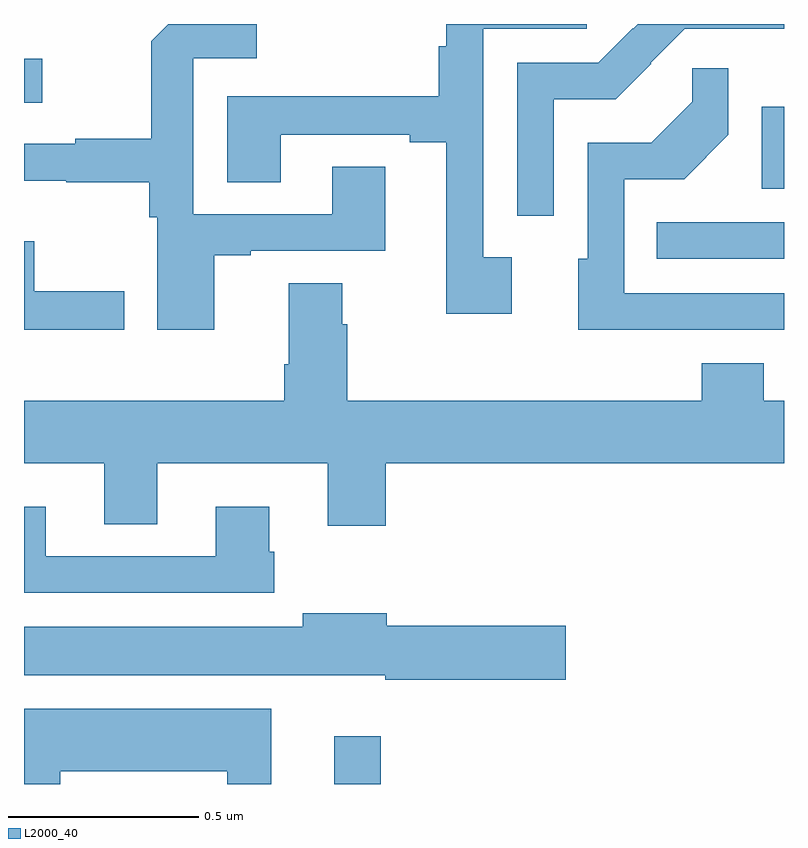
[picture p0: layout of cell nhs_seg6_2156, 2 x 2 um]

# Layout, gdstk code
import gdstk
lib = gdstk.Library(unit=1e-6, precision=1e-09)
def R(c, l, rs):  # rectangles x0, y0, x1, y1
    for r in rs: c.add(gdstk.rectangle(r[:2], r[2:], *l))
def P(c, l, *ps):  # polygons
    for p in ps: c.add(gdstk.Polygon(p, *l))
L2000_40 = (2000, 40)

nhs_seg6_2156 = lib.new_cell('nhs_seg6_2156')
R(nhs_seg6_2156, L2000_40, [(139.817,938.5,139.939,938.626), (140.665,939.882,141,939.978), (140.942,940.067,141,940.282), (139,940.293,139.048,940.408)])
P(nhs_seg6_2156, L2000_40, [(139.501,939.891),(139.597,939.891),(139.597,939.903),(139.951,939.903),(139.951,940.124),(139.811,940.124),(139.811,939.999),(139.446,939.999),(139.446,940.41),(139.612,940.41),(139.612,940.5),(139.38,940.5),(139.335,940.455),(139.335,940.198),(139.135,940.198),(139.135,940.185),(139,940.185),(139,940.088),(139.111,940.088),(139.111,940.084),(139.33,940.084),(139.33,939.992),(139.35,939.992),(139.35,939.696),(139.501,939.696)],
  [(140.284,939.886),(140.208,939.886),(140.208,940.488),(140.481,940.488),(140.481,940.5),(140.111,940.5),(140.111,940.442),(140.092,940.442),(140.092,940.31),(139.535,940.31),(139.535,940.084),(139.675,940.084),(139.675,940.209),(140.015,940.209),(140.015,940.189),(140.111,940.189),(140.111,939.738),(140.284,939.738)],
  [(140.394,940.302),(140.557,940.302),(140.651,940.396),(140.649,940.398),(140.739,940.488),(140.954,940.488),(140.954,940.487),(141,940.487),(141,940.5),(140.615,940.5),(140.603,940.488),(140.602,940.489),(140.511,940.398),(140.298,940.398),(140.298,939.996),(140.394,939.996)],
  [(140.677,939.696),(141,939.696),(141,939.792),(140.58,939.792),(140.58,940.092),(140.737,940.092),(140.853,940.208),(140.853,940.384),(140.758,940.384),(140.758,940.296),(140.65,940.188),(140.484,940.188),(140.484,939.882),(140.459,939.882),(140.459,939.695),(140.677,939.695)],
  [(139.264,939.797),(139.027,939.797),(139.027,939.928),(139,939.928),(139,939.695),(139.264,939.695)],
  [(139.952,939.344),(141,939.344),(141,939.508),(140.947,939.508),(140.947,939.607),(140.783,939.607),(140.783,939.508),(139.85,939.508),(139.85,939.71),(139.837,939.71),(139.837,939.818),(139.697,939.818),(139.697,939.604),(139.685,939.604),(139.685,939.508),(139,939.508),(139,939.344),(139.211,939.344),(139.211,939.184),(139.351,939.184),(139.351,939.344),(139.799,939.344),(139.799,939.18),(139.952,939.18)],
  [(139.658,939.111),(139.645,939.111),(139.645,939.229),(139.505,939.229),(139.505,939.099),(139.057,939.099),(139.057,939.229),(139,939.229),(139,939.003),(139.658,939.003)],
  [(140.425,938.916),(139.954,938.916),(139.954,938.95),(139.733,938.95),(139.733,938.914),(139,938.914),(139,938.786),(139.95,938.786),(139.95,938.774),(140.425,938.774)],
  [(139.096,938.534),(139.535,938.534),(139.535,938.5),(139.651,938.5),(139.651,938.698),(139,938.698),(139,938.5),(139.096,938.5)])

lib.write_gds('nhs_seg6_2156.gds')
